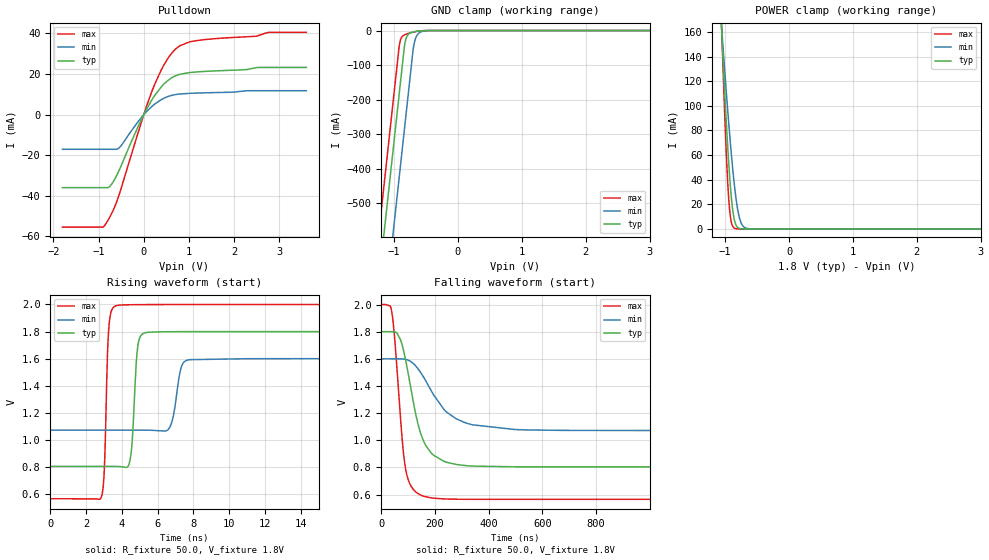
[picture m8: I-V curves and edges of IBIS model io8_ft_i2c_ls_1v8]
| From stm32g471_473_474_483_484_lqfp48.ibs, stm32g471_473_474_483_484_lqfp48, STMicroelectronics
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[Model]   io8_ft_i2c_ls_1v8
Model_type I/O_open_drain
Polarity   Non-Inverting
Enable   Active-Low
| CAP_THRESHOLD on pad IOFT is "UDTCAPC" :
| Rising=30.0% of vddiom   Falling=70.0% of vddiom
| C_comp min and max val. don't necessarily correlate with the min and max pvt
| but are the smallest and greatest pad capacitance found.
| var   typ   min   max
C_comp   2.35660pF  2.33475pF  2.41115pF
|C_comp_pulldown   2.35660pF  2.33475pF  2.41115pF
Vinl = 800.0mV
Vinh = 1.0V
Vmeas = 900.0mV   | Reference voltage for timing measurements
Cref  = 50.0pF   | Timing specification test load capacitance value
Rref  = 1.0MOhm   | Timing specification test load resistance value
Vref  = 990.0mV   | Timing specification test load voltage
[Model Spec]
| TIME_THRESHOLD on pin ZIV12 is "CMOS" :
| Rising=50.0% of vdd   Falling=50.0% of vdd
Vinl 728.70000mV 652.70000mV 817.70000mV
Vinh 1.06430V 953.30000mV 1.16330V
| variable   typ   min   max
[Temperature Range] 25.0 125.0 -40.0
| variable   typ   min   max
[Voltage Range] 1.8V 1.6V 2.0V
| variable   typ   min   max
[POWER Clamp Reference] 1.8V 1.6V 2.0V
| variable   typ   min   max
[GND Clamp Reference] 0V 0V 0V
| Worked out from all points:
|   slope of the pulldown table from 0 to 0.27 V, typ, clamps not added: 26.4 ohm
|   GND clamp passes 1 mA (typ) near -0.58 V on its own axis
|   POWER clamp passes 1 mA (typ) near -0.80 V on its own axis
|   rising waveform, R_fixture 50.0, V_fixture 1.8V: 20-80 % time 241ps typ, 365ps min, 181ps max; typ from 0.804 V to 1.8 V
|   falling waveform, R_fixture 50.0, V_fixture 1.8V: 20-80 % time 66.1ns typ, 117ns min, 34.6ns max; typ from 1.8 V to 0.804 V
[POWER Clamp]
-1.8V     1.076A     768.4mA    1.428A
-1.06V    166.8mA    167.3mA    172.4mA
-1.05V    156mA      159.9mA    156.7mA
-990mV    94.58mA    117mA      71.25mA
-950mV    58.69mA    90.08mA    29.27mA
-930mV    43.17mA    77.3mA     15.67mA
-910mV    29.83mA    65.11mA    7.377mA
-860mV    8.434mA    38.02mA    795.5uA
-810mV    1.577mA    17.81mA    74.4uA
-770mV    365.4uA    7.942mA    11.04uA
-650mV    4.138uA    347.7uA    35.9nA
3.6V      0A         0A         0A
[GND Clamp]
-1.8V     -1.68A     -1.921A    -1.54A
-1.24V    -727.6mA   -969.1mA   -588.3mA
-1.05V    -404.6mA   -646.1mA   -265.3mA
-920mV    -183.6mA   -425.1mA   -45.19mA
-890mV    -132.6mA   -374.1mA   -22.26mA
-850mV    -64.62mA   -306.1mA   -13.71mA
-830mV    -36.28mA   -272.1mA   -11.85mA
-800mV    -17.27mA   -221.1mA   -9.806mA
-690mV    -3.766mA   -41.92mA   -4.242mA
-640mV    -2.189mA   -13.56mA   -2.404mA
-570mV    -808.8uA   -3.218mA   -757.3uA
3.6V      453.9pA    48.38nA    315.2pA
| variable   typ   min   max
[Pullup Reference] 1.8V 1.6V 2.0V
| variable   typ   min   max
[Pulldown Reference] 0V 0V 0V
[Pulldown]
-1.8V     -35.95mA   -17.07mA   -55.42mA
-910mV    -35.95mA   -17.07mA   -55.42mA
-830mV    -35.95mA   -17.07mA   -53.41mA
-720mV    -34.49mA   -17.07mA   -49.08mA
-540mV    -27.18mA   -16.22mA   -39.07mA
-120mV    -5.598mA   -3.255mA   -8.496mA
240mV     9.353mA    5.171mA    14.85mA
490mV     15.96mA    8.523mA    26.14mA
750mV     19.54mA    10.04mA    33.17mA
1.37V     21.33mA    10.77mA    37.03mA
2.78V     23.25mA    11.81mA    40.55mA
3.6V      23.25mA    11.81mA    40.56mA
[Ramp]
dV/dt_r 597.44697mV/236.68849ps 316.64125mV/363.33445ps 860.77118mV/176.62405ps
dV/dt_f 597.45866mV/65.98322ns 316.65407mV/114.64124ns 860.78189mV/34.54217ns
R_load = 50.0
| Removed startup time: 0s 0s 0s  .
| Removed end time: 49.75ns.
[Rising Waveform]
R_fixture   = 50.0
V_fixture   = 1.8V
V_fixture_min = 1.6V
V_fixture_max = 2.0V
0s        804.2mV    1.072V     565.4mV
2.85ns    803.8mV    1.072V     574.7mV
3ns       803.8mV    1.072V     720.4mV
3.3ns     803.7mV    1.072V     1.868V
3.75ns    803.5mV    1.072V     1.993V
4.45ns    843.3mV    1.072V     1.998V
4.9ns     1.698V     1.072V     1.999V
5.4ns     1.793V     1.072V     1.999V
7.8ns     1.8V       1.593V     2V
49.75ns   1.8V       1.6V       2V
| Removed startup time: 0s 0s 0s  .
| Removed end time: 1.49978us.
[Falling Waveform]
R_fixture   = 50.0
V_fixture   = 1.8V
V_fixture_min = 1.6V
V_fixture_max = 2.0V
0s        1.8V       1.6V       2V
40.2ns    1.8V       1.6V       1.93V
52.33ns   1.797V     1.6V       1.686V
80.03ns   1.684V     1.599V     958.3mV
93.63ns   1.561V     1.594V     757.9mV
146.2ns   1.053V     1.501V     597.7mV
195.1ns   889.6mV    1.334V     573.8mV
245.7ns   837mV      1.204V     567.6mV
339.7ns   810.3mV    1.114V     565.6mV
1.5us     804.2mV    1.072V     565.4mV
